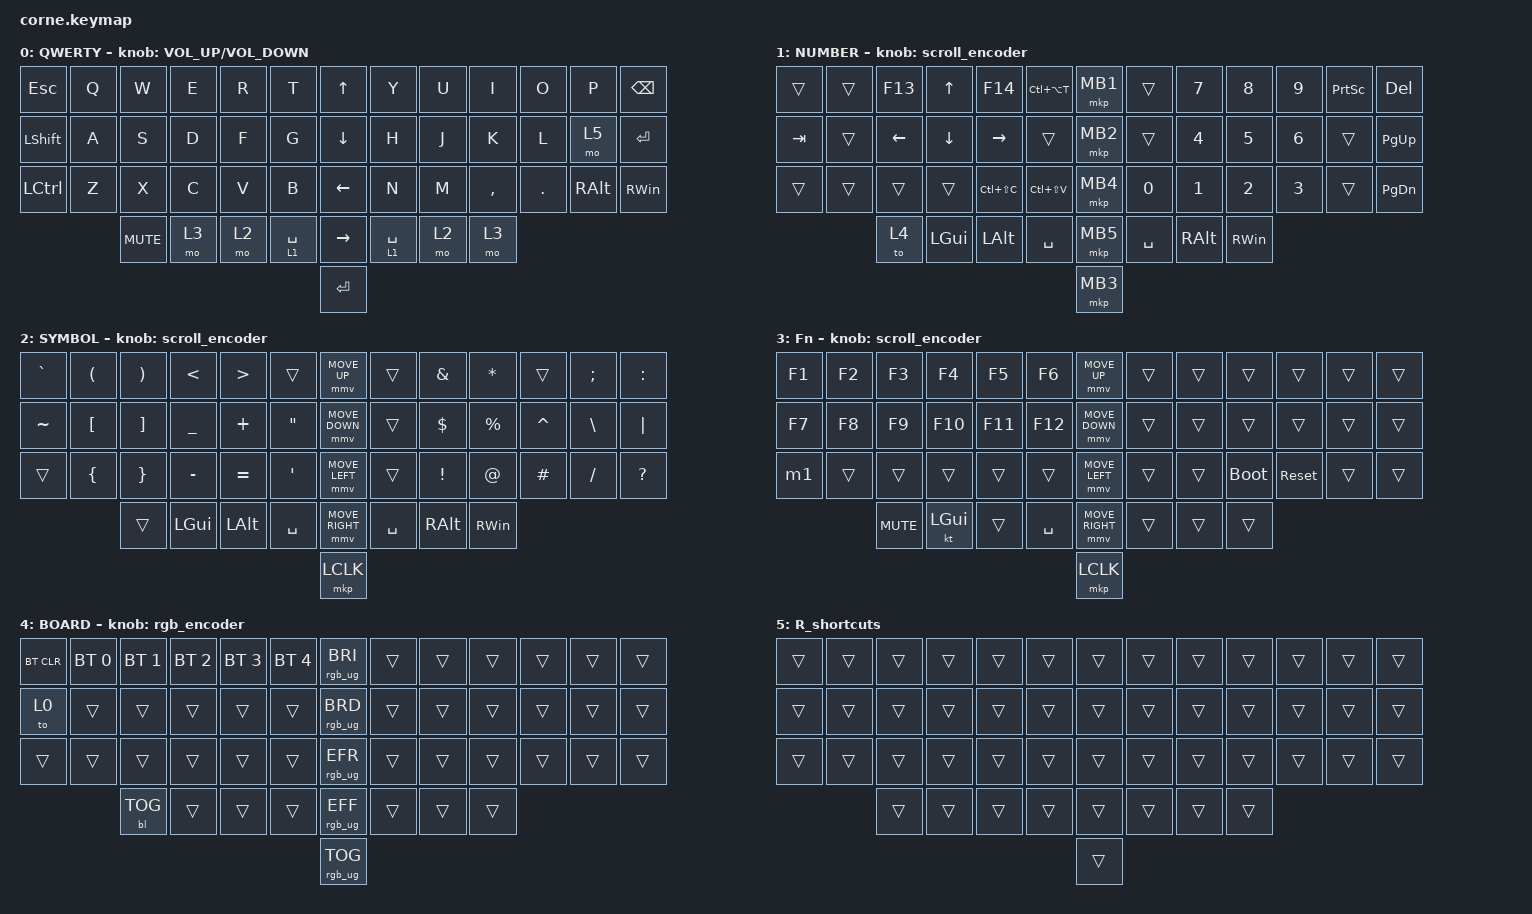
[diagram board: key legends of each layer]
#include <behaviors/mouse_keys.dtsi>
#include <behaviors.dtsi>
#include <dt-bindings/zmk/backlight.h>
#include <dt-bindings/zmk/bt.h>
#include <dt-bindings/zmk/keys.h>
#include <dt-bindings/zmk/keys.h>
#include <dt-bindings/zmk/mouse.h>
#include <dt-bindings/zmk/rgb.h>

#define ZMK_MOUSE_DEFAULT_MOVE_VAL 1200  // 600
#define ZMK_MOUSE_DEFAULT_SCRL_VAL 20    // 10
#define U_MS_U &mmv MOVE_UP
#define U_MS_D &mmv MOVE_DOWN
#define U_MS_L &mmv MOVE_LEFT
#define U_MS_R &mmv MOVE_RIGHT

/ {
    behaviors {
        td0: td0 {
            compatible = "zmk,behavior-tap-dance";
            label = "TD0";
            #binding-cells = <0>;
            bindings = <&kp LEFT_SHIFT>, <&kp CAPS>;
        };

        mmv {
            acceleration-exponent = <1>;      // 1
            time-to-max-speed-ms = <900>;    // 40
            delay-ms = <0>;                   // 0
        };

        msc {
            acceleration-exponent = <1>;      // 0
            time-to-max-speed-ms = <400>;      // 500
            delay-ms = <0>;                   // 10
        };
    };

    rgb_encoder: rgb_encoder {
        compatible = "zmk,behavior-sensor-rotate";
        label = "RGB_ENCODER";
        #sensor-binding-cells = <0>;
        bindings = <&rgb_ug RGB_BRI>, <&rgb_ug RGB_BRD>;
    };

    scroll_encoder: scroll_encoder {
        compatible = "zmk,behavior-sensor-rotate";
        #sensor-binding-cells = <0>;
        bindings = <&msc SCRL_DOWN>, <&msc SCRL_UP>;

        tap-ms = <30>;
    };

    macros {
        m1: m1 {
            compatible = "zmk,behavior-macro";
            #binding-cells = <0>;
            bindings = <&none &kp N1 &kp N2 &kp N1 &kp N0 &kp N2>;
            label = "M1";
        };
    };

    keymap {
        compatible = "zmk,keymap";

        default {
            display-name = "QWERTY";

            bindings = <
&kp ESC         &kp Q  &kp W       &kp E  &kp R  &kp T          &kp UP_ARROW     &kp Y        &kp U  &kp I      &kp O    &kp P          &kp BSPC
&kp LEFT_SHIFT  &kp A  &kp S       &kp D  &kp F  &kp G          &kp DOWN_ARROW   &kp H        &kp J  &kp K      &kp L    &mo 5          &kp ENTER
&kp LCTRL       &kp Z  &kp X       &kp C  &kp V  &kp B          &kp LEFT_ARROW   &kp N        &kp M  &kp COMMA  &kp DOT  &kp RIGHT_ALT  &kp RIGHT_WIN
                       &kp C_MUTE  &mo 3  &mo 2  &lt 1 SPACE    &kp RIGHT_ARROW  &lt 1 SPACE  &mo 2  &mo 3
                                                                &kp ENTER
            >;

            label = "QWERTY";
            sensor-bindings = <&inc_dec_kp C_VOLUME_UP C_VOLUME_DOWN>;
        };

        Number_and_action {
            display-name = "NUMBER";

            bindings = <
&trans   &trans  &kp F13   &kp UP_ARROW  &kp F14        &kp LC(LA(T))    &mkp MB1  &trans     &kp N7         &kp N8         &kp N9  &kp PRINTSCREEN  &kp DEL
&kp TAB  &trans  &kp LEFT  &kp DOWN      &kp RIGHT      &trans           &mkp MB2  &trans     &kp N4         &kp N5         &kp N6  &trans           &kp PG_UP
&trans   &trans  &trans    &trans        &kp LC(LS(C))  &kp LC(LS(V))    &mkp MB4  &kp N0     &kp NUMBER_1   &kp NUMBER_2   &kp N3  &trans           &kp PAGE_DOWN
                 &to 4     &kp LEFT_GUI  &kp LEFT_ALT   &kp SPACE        &mkp MB5  &kp SPACE  &kp RIGHT_ALT  &kp RIGHT_WIN
                                                                         &mkp MB3
            >;

            label = "NUMBER";
            sensor-bindings = <&scroll_encoder>;
        };

        Symbol {
            display-name = "SYMBOL";

            bindings = <
&kp GRAVE  &kp LPAR  &kp RPAR  &kp LT        &kp GT        &trans       &mmv MOVE_UP     &trans     &kp AMPS       &kp ASTRK      &trans     &kp SEMI   &kp COLON
&kp TILDE  &kp LBKT  &kp RBKT  &kp UNDER     &kp PLUS      &kp DQT      &mmv MOVE_DOWN   &trans     &kp DLLR       &kp PRCNT      &kp CARET  &kp BSLH   &kp PIPE
&trans     &kp LBRC  &kp RBRC  &kp MINUS     &kp EQUAL     &kp SQT      &mmv MOVE_LEFT   &trans     &kp EXCL       &kp AT         &kp HASH   &kp SLASH  &kp QMARK
                     &trans    &kp LEFT_GUI  &kp LEFT_ALT  &kp SPACE    &mmv MOVE_RIGHT  &kp SPACE  &kp RIGHT_ALT  &kp RIGHT_WIN
                                                                        &mkp LCLK
            >;

            label = "SYMBOL";
            sensor-bindings = <&scroll_encoder>;
        };

        Function {
            display-name = "Fn";
            bindings = <
&kp F1  &kp F2  &kp F3      &kp F4        &kp F5   &kp F6       &mmv MOVE_UP     &trans  &trans  &trans       &trans      &trans  &trans
&kp F7  &kp F8  &kp F9      &kp F10       &kp F11  &kp F12      &mmv MOVE_DOWN   &trans  &trans  &trans       &trans      &trans  &trans
&m1     &trans  &trans      &trans        &trans   &trans       &mmv MOVE_LEFT   &trans  &trans  &bootloader  &sys_reset  &trans  &trans
                &kp C_MUTE  &kt LEFT_GUI  &trans   &kp SPACE    &mmv MOVE_RIGHT  &trans  &trans  &trans
                                                                &mkp LCLK
            >;

            label = "FN";
            sensor-bindings = <&scroll_encoder>;
        };

        Board_Function {
            bindings = <
&bt BT_CLR  &bt BT_SEL 0  &bt BT_SEL 1  &bt BT_SEL 2  &bt BT_SEL 3  &bt BT_SEL 4    &rgb_ug RGB_BRI  &trans  &trans  &trans  &trans  &trans  &trans
&to 0       &trans        &trans        &trans        &trans        &trans          &rgb_ug RGB_BRD  &trans  &trans  &trans  &trans  &trans  &trans
&trans      &trans        &trans        &trans        &trans        &trans          &rgb_ug RGB_EFR  &trans  &trans  &trans  &trans  &trans  &trans
                          &bl BL_TOG    &trans        &trans        &trans          &rgb_ug RGB_EFF  &trans  &trans  &trans
                                                                                    &rgb_ug RGB_TOG
            >;

            label = "BOARD";
            sensor-bindings = <&rgb_encoder>;
        };

        R_shortcuts {
            bindings = <
&trans  &trans  &trans  &trans  &trans  &trans    &trans  &trans  &trans  &trans  &trans  &trans  &trans
&trans  &trans  &trans  &trans  &trans  &trans    &trans  &trans  &trans  &trans  &trans  &trans  &trans
&trans  &trans  &trans  &trans  &trans  &trans    &trans  &trans  &trans  &trans  &trans  &trans  &trans
                &trans  &trans  &trans  &trans    &trans  &trans  &trans  &trans
                                                  &trans
            >;

            label = "R_shortcuts";
        };
    };
};
